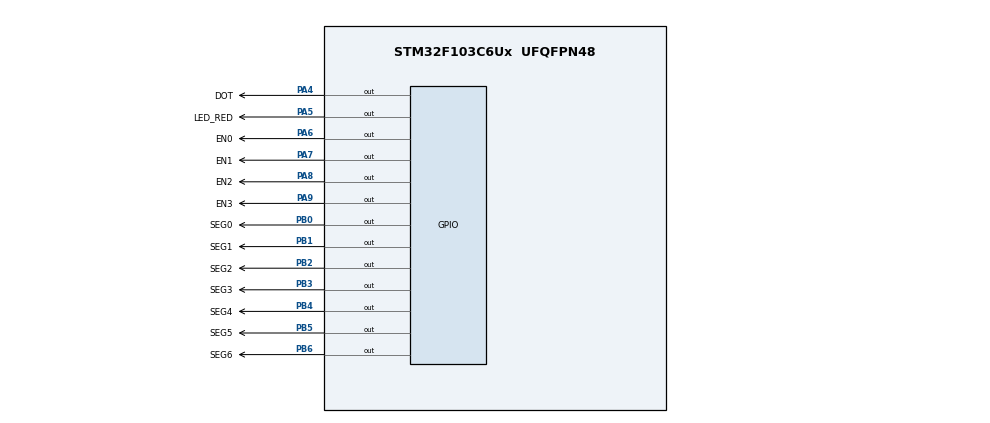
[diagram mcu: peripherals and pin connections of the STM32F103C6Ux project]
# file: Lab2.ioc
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Mcu.Family=STM32F1
Mcu.Name=STM32F103C6Ux
Mcu.Package=UFQFPN48
NVIC.PriorityGroup=NVIC_PRIORITYGROUP_4
NVIC.TIM2_IRQn=true\:0\:0\:false\:false\:true\:true\:true
PA4.GPIO_Label=DOT
PA4.Signal=GPIO_Output
PA5.GPIO_Label=LED_RED
PA5.Signal=GPIO_Output
PA6.GPIO_Label=EN0
PA6.Signal=GPIO_Output
PA7.GPIO_Label=EN1
PA7.Signal=GPIO_Output
PA8.GPIO_Label=EN2
PA8.Signal=GPIO_Output
PA9.GPIO_Label=EN3
PA9.Signal=GPIO_Output
PB0.GPIO_Label=SEG0
PB0.Signal=GPIO_Output
PB1.GPIO_Label=SEG1
PB1.Signal=GPIO_Output
PB2.GPIO_Label=SEG2
PB2.Signal=GPIO_Output
PB3.GPIO_Label=SEG3
PB3.Signal=GPIO_Output
PB4.GPIO_Label=SEG4
PB4.Signal=GPIO_Output
PB5.GPIO_Label=SEG5
PB5.Signal=GPIO_Output
PB6.GPIO_Label=SEG6
PB6.Signal=GPIO_Output
ProjectManager.HeapSize=0x200
ProjectManager.StackSize=0x400
ProjectManager.TargetToolchain=STM32CubeIDE
RCC.APB1Freq_Value=8000000
RCC.APB2Freq_Value=8000000
RCC.SYSCLKSource=RCC_SYSCLKSOURCE_PLLCLK
TIM2.Period=9
TIM2.Prescaler=7999
VP_SYS_VS_ND.Mode=No_Debug
VP_TIM2_VS_ClockSourceINT.Mode=Internal
board=custom

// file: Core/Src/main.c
/* USER CODE BEGIN Header */
/**
  ******************************************************************************
  * @file           : main.c
  * @brief          : Main program body
  ******************************************************************************
  * @attention
  *
  * <h2><center>&copy; Copyright (c) 2023 STMicroelectronics.
  * All rights reserved.</center></h2>
  *
  * This software component is licensed by ST under BSD 3-Clause license,
  * the "License"; You may not use this file except in compliance with the
  * License. You may obtain a copy of the License at:
  *                        opensource.org/licenses/BSD-3-Clause
  *
  ******************************************************************************
  */
/* USER CODE END Header */
#include "main.h"

/* USER CODE BEGIN Includes */
#include "software_timer.h"
/* USER CODE END Includes */

TIM_HandleTypeDef htim2;

void SystemClock_Config(void);
static void MX_GPIO_Init(void);
static void MX_TIM2_Init(void);
/* USER CODE BEGIN PFP */
const int MAX_LED = 4;
int index_led = 0;
int led_buffer[4] = {1 , 2 , 3 , 4};
int hour = 15, minute = 59, second = 50;

void update7SEG (int index);
void display7SEG(int num);
void updateClockBuffer();
/* USER CODE END PFP */

int main(void)
{

  /* MCU Configuration--------------------------------------------------------*/

  /* Reset of all peripherals, Initializes the Flash interface and the Systick. */
  HAL_Init();

  /* Configure the system clock */
  SystemClock_Config();

  /* Initialize all configured peripherals */
  MX_GPIO_Init();
  MX_TIM2_Init();
  /* USER CODE BEGIN 2 */
  HAL_TIM_Base_Start_IT(&htim2);
  /* USER CODE END 2 */

  /* Infinite loop */
  /* USER CODE BEGIN WHILE */

  // Ex5 + Ex7 + Ex8

  setTimer1(100);
  setTimer2(100);

  // Xóa màn hình
  GPIOB->ODR = 0xFF;
  while (1)
  {
	  if(timer1_flag == 1) {
		  setTimer1(100);
		  // TODO
		  HAL_GPIO_TogglePin(LED_RED_GPIO_Port, LED_RED_Pin);
		  HAL_GPIO_TogglePin(DOT_GPIO_Port, DOT_Pin);
	  }
	  if(timer2_flag == 1) {
		  setTimer2(100);
		  // TODO
		  second++;
		  if(second >= 60) {
			  second = 0;
			  minute++;
		  }
		  if(minute >= 60) {
			  minute = 0;
			  hour++;
		  }
		  if(hour >= 24) {
			  hour = 0;
		  }
		  updateClockBuffer();
		  update7SEG((index_led++) % MAX_LED);
	  }
    /* USER CODE END WHILE */

  }
}

void SystemClock_Config(void)
{
  RCC_OscInitTypeDef RCC_OscInitStruct = {0};
  RCC_ClkInitTypeDef RCC_ClkInitStruct = {0};

  /** Initializes the RCC Oscillators according to the specified parameters
  * in the RCC_OscInitTypeDef structure.
  */
  RCC_OscInitStruct.OscillatorType = RCC_OSCILLATORTYPE_HSI;
  RCC_OscInitStruct.HSIState = RCC_HSI_ON;
  RCC_OscInitStruct.HSICalibrationValue = RCC_HSICALIBRATION_DEFAULT;
  RCC_OscInitStruct.PLL.PLLState = RCC_PLL_ON;
  RCC_OscInitStruct.PLL.PLLSource = RCC_PLLSOURCE_HSI_DIV2;
  RCC_OscInitStruct.PLL.PLLMUL = RCC_PLL_MUL2;
  if (HAL_RCC_OscConfig(&RCC_OscInitStruct) != HAL_OK)
  {
    Error_Handler();
  }
  /** Initializes the CPU, AHB and APB buses clocks
  */
  RCC_ClkInitStruct.ClockType = RCC_CLOCKTYPE_HCLK|RCC_CLOCKTYPE_SYSCLK
                              |RCC_CLOCKTYPE_PCLK1|RCC_CLOCKTYPE_PCLK2;
  RCC_ClkInitStruct.SYSCLKSource = RCC_SYSCLKSOURCE_PLLCLK;
  RCC_ClkInitStruct.AHBCLKDivider = RCC_SYSCLK_DIV1;
  RCC_ClkInitStruct.APB1CLKDivider = RCC_HCLK_DIV1;
  RCC_ClkInitStruct.APB2CLKDivider = RCC_HCLK_DIV1;

  if (HAL_RCC_ClockConfig(&RCC_ClkInitStruct, FLASH_LATENCY_0) != HAL_OK)
  {
    Error_Handler();
  }
}

static void MX_TIM2_Init(void)
{

  TIM_ClockConfigTypeDef sClockSourceConfig = {0};
  TIM_MasterConfigTypeDef sMasterConfig = {0};

  htim2.Instance = TIM2;
  htim2.Init.Prescaler = 7999;
  htim2.Init.CounterMode = TIM_COUNTERMODE_UP;
  htim2.Init.Period = 9;
  htim2.Init.ClockDivision = TIM_CLOCKDIVISION_DIV1;
  htim2.Init.AutoReloadPreload = TIM_AUTORELOAD_PRELOAD_DISABLE;
  if (HAL_TIM_Base_Init(&htim2) != HAL_OK)
  {
    Error_Handler();
  }
  sClockSourceConfig.ClockSource = TIM_CLOCKSOURCE_INTERNAL;
  if (HAL_TIM_ConfigClockSource(&htim2, &sClockSourceConfig) != HAL_OK)
  {
    Error_Handler();
  }
  sMasterConfig.MasterOutputTrigger = TIM_TRGO_RESET;
  sMasterConfig.MasterSlaveMode = TIM_MASTERSLAVEMODE_DISABLE;
  if (HAL_TIMEx_MasterConfigSynchronization(&htim2, &sMasterConfig) != HAL_OK)
  {
    Error_Handler();
  }

}

static void MX_GPIO_Init(void)
{
  GPIO_InitTypeDef GPIO_InitStruct = {0};

  /* GPIO Ports Clock Enable */
  __HAL_RCC_GPIOA_CLK_ENABLE();
  __HAL_RCC_GPIOB_CLK_ENABLE();

  /*Configure GPIO pin Output Level */
  HAL_GPIO_WritePin(GPIOA, DOT_Pin|LED_RED_Pin|EN0_Pin|EN1_Pin
                          |EN2_Pin|EN3_Pin, GPIO_PIN_RESET);

  /*Configure GPIO pin Output Level */
  HAL_GPIO_WritePin(GPIOB, SEG0_Pin|SEG1_Pin|SEG2_Pin|SEG3_Pin
                          |SEG4_Pin|SEG5_Pin|SEG6_Pin, GPIO_PIN_RESET);

  /*Configure GPIO pins : DOT_Pin LED_RED_Pin EN0_Pin EN1_Pin
                           EN2_Pin EN3_Pin */
  GPIO_InitStruct.Pin = DOT_Pin|LED_RED_Pin|EN0_Pin|EN1_Pin
                          |EN2_Pin|EN3_Pin;
  GPIO_InitStruct.Mode = GPIO_MODE_OUTPUT_PP;
  GPIO_InitStruct.Pull = GPIO_NOPULL;
  GPIO_InitStruct.Speed = GPIO_SPEED_FREQ_LOW;
  HAL_GPIO_Init(GPIOA, &GPIO_InitStruct);

  /*Configure GPIO pins : SEG0_Pin SEG1_Pin SEG2_Pin SEG3_Pin
                           SEG4_Pin SEG5_Pin SEG6_Pin */
  GPIO_InitStruct.Pin = SEG0_Pin|SEG1_Pin|SEG2_Pin|SEG3_Pin
                          |SEG4_Pin|SEG5_Pin|SEG6_Pin;
  GPIO_InitStruct.Mode = GPIO_MODE_OUTPUT_PP;
  GPIO_InitStruct.Pull = GPIO_NOPULL;
  GPIO_InitStruct.Speed = GPIO_SPEED_FREQ_LOW;
  HAL_GPIO_Init(GPIOB, &GPIO_InitStruct);

}

/* USER CODE BEGIN 4 */
void HAL_TIM_PeriodElapsedCallback ( TIM_HandleTypeDef * htim ) {
	timerRun();
}

void display7SEG(int num) {
    // Mảng biểu diễn số từ 0 đến 9 trên màn hình LED 7 đoạn
    uint8_t numbers[10] = {
        0b00111111, // 0
        0b00000110, // 1
        0b01011011, // 2
        0b01001111, // 3
        0b01100110, // 4
        0b01101101, // 5
        0b01111101, // 6
        0b00000111, // 7
        0b01111111, // 8
        0b01101111, // 9
    };

    // Xóa màn hình
    GPIOB->ODR = 0xFF;

    // Hiển thị số trên màn hình LED 7 đoạn
    if (num >= 0 && num <= 9) {
        GPIOB->ODR = ~numbers[num];
    }
}

void update7SEG (int index) {
	switch(index) {
		case 0:
			display7SEG(led_buffer[index]);
			HAL_GPIO_WritePin(EN0_GPIO_Port, EN0_Pin, RESET);
			HAL_GPIO_WritePin(EN1_GPIO_Port, EN1_Pin, SET);
			HAL_GPIO_WritePin(EN2_GPIO_Port, EN2_Pin, SET);
			HAL_GPIO_WritePin(EN3_GPIO_Port, EN3_Pin, SET);
			break;
		case 1:
			display7SEG(led_buffer[index]);
			HAL_GPIO_WritePin(EN0_GPIO_Port, EN0_Pin, SET);
			HAL_GPIO_WritePin(EN1_GPIO_Port, EN1_Pin, RESET);
			HAL_GPIO_WritePin(EN2_GPIO_Port, EN2_Pin, SET);
			HAL_GPIO_WritePin(EN3_GPIO_Port, EN3_Pin, SET);
			break;
		case 2:
			display7SEG(led_buffer[index]);
			HAL_GPIO_WritePin(EN0_GPIO_Port, EN0_Pin, SET);
			HAL_GPIO_WritePin(EN1_GPIO_Port, EN1_Pin, SET);
			HAL_GPIO_WritePin(EN2_GPIO_Port, EN2_Pin, RESET);
			HAL_GPIO_WritePin(EN3_GPIO_Port, EN3_Pin, SET);
			break;
		case 3:
			display7SEG(led_buffer[index]);
			HAL_GPIO_WritePin(EN0_GPIO_Port, EN0_Pin, SET);
			HAL_GPIO_WritePin(EN1_GPIO_Port, EN1_Pin, SET);
			HAL_GPIO_WritePin(EN2_GPIO_Port, EN2_Pin, SET);
			HAL_GPIO_WritePin(EN3_GPIO_Port, EN3_Pin, RESET);
			break;
		default:
			display7SEG(led_buffer[0]);
			HAL_GPIO_WritePin(EN0_GPIO_Port, EN0_Pin, RESET);
			HAL_GPIO_WritePin(EN1_GPIO_Port, EN1_Pin, SET);
			HAL_GPIO_WritePin(EN2_GPIO_Port, EN2_Pin, SET);
			HAL_GPIO_WritePin(EN3_GPIO_Port, EN3_Pin, SET);
			break;
	}
}

void updateClockBuffer() {
	led_buffer[0] = hour / 10;
	led_buffer[1] = hour % 10;
	led_buffer[2] = minute / 10;
	led_buffer[3] = minute % 10;
}
/* USER CODE END 4 */

void Error_Handler(void)
{
  __disable_irq();
  while (1)
  {
  }
}

/************************ (C) COPYRIGHT STMicroelectronics *****END OF FILE****/
